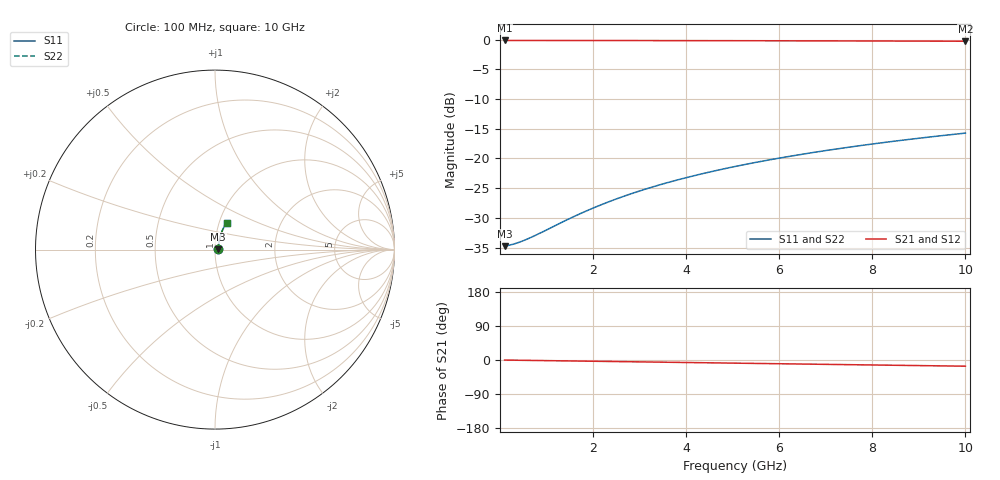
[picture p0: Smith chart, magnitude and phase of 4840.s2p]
# Hz S RI R 50.00
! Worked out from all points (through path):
!   100 points, 100 MHz to 10 GHz, reference 50 ohm
!   highest |S21| = -0.16 dB at 100 MHz (marker M1); lowest = -0.3 dB at 10 GHz (marker M2)
!   group delay of S21, straight-line fit = 4.54 ps
!   lowest |S11| = -34.8 dB at 100 MHz (marker M3), VSWR 1.04, Z = 51.9 + j0.167 ohm
!   |S11| at or under -10 dB: start of sweep to end of sweep
!   |S22| runs from -34.8 to -15.7 dB; largest |S21 - S12| = 0
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1e8  0.0182 0.00161  0.9818 -0.00283  0.9818 -0.00283  0.0182 0.00161
2e8  0.0183 0.00321  0.9817 -0.00566  0.9817 -0.00566  0.0183 0.00321
3e8  0.0184 0.00482  0.9815 -0.00848  0.9815 -0.00848  0.0184 0.00482
4e8  0.0185 0.00642  0.9814 -0.0113  0.9814 -0.0113  0.0185 0.00642
6e8  0.0188 0.00963  0.9812 -0.017  0.9812 -0.017  0.0188 0.00963
8e8  0.019 0.0128  0.981 -0.0226  0.981 -0.0226  0.019 0.0128
1.5e9  0.0199 0.024  0.9799 -0.0423  0.9799 -0.0423  0.0199 0.024
1.8e9  0.0205 0.0288  0.9793 -0.0508  0.9793 -0.0508  0.0205 0.0288
2.2e9  0.0213 0.0352  0.9783 -0.062  0.9783 -0.062  0.0213 0.0352
2.6e9  0.0223 0.0415  0.9772 -0.0732  0.9772 -0.0732  0.0223 0.0415
3e9  0.0234 0.0478  0.9759 -0.0844  0.9759 -0.0844  0.0234 0.0478
3.4e9  0.0246 0.0541  0.9745 -0.0956  0.9745 -0.0956  0.0246 0.0541
3.8e9  0.026 0.0603  0.9729 -0.1067  0.9729 -0.1067  0.026 0.0603
4.2e9  0.0275 0.0665  0.9711 -0.1178  0.9711 -0.1178  0.0275 0.0665
4.6e9  0.0292 0.0727  0.9692 -0.1288  0.9692 -0.1288  0.0292 0.0727
5.1e9  0.0314 0.0803  0.9665 -0.1426  0.9665 -0.1426  0.0314 0.0803
5.9e9  0.0355 0.0924  0.9618 -0.1644  0.9618 -0.1644  0.0355 0.0924
6.7e9  0.0401 0.1042  0.9564 -0.186  0.9564 -0.186  0.0401 0.1042
7.5e9  0.0452 0.1158  0.9505 -0.2074  0.9505 -0.2074  0.0452 0.1158
8.4e9  0.0516 0.1284  0.943 -0.2311  0.943 -0.2311  0.0516 0.1284
9.2e9  0.0577 0.1394  0.9358 -0.2518  0.9358 -0.2518  0.0577 0.1394
1e10  0.0644 0.15  0.928 -0.2722  0.928 -0.2722  0.0644 0.15
